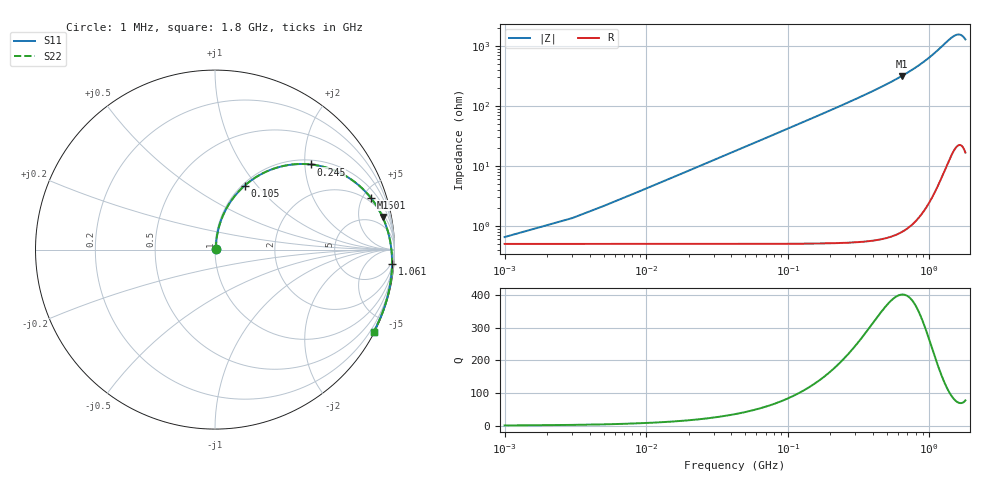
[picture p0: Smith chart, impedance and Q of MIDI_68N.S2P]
! Coilcraft 1812SMS-68N Midi Spring Air Core Inductor
! 10 June 2003
# MHZ S MA R 50
!Freq  MagS11  AngS11  MagS21  AngS21  MagS12  AngS12  MagS22  AngS22
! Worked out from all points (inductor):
!   901 points, 1 MHz to 1.8 GHz, reference 50 ohm
!   read as one part in series: L = 66.3 nH near 9 MHz
!   highest Q = 401 at 639 MHz (marker M1), where L = 78.6 nH
!   S11 on the Smith chart (normalised r, x): 1 MHz: 1.01, +0.01; 105 MHz: 1.03, +0.87; 245 MHz: 1.11, +2.14; 501 MHz: 1.62, +5.71; 1.061 GHz: 3, -24; 1.8 GHz: 0.04, -4.10
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1  0.006411 39.0  0.995 -0.2  0.995 -0.2  0.006412 39.0
5  0.02087 75.0  0.9948 -1.2  0.9948 -1.2  0.02088 75.0
11  0.04483 81.0  0.994 -2.7  0.994 -2.7  0.04485 81.0
15  0.06091 81.7  0.9932 -3.6  0.9932 -3.6  0.06094 81.7
21  0.085 81.6  0.9914 -5.1  0.9914 -5.1  0.08503 81.6
29  0.1169 80.6  0.9882 -7.0  0.9882 -7.0  0.117 80.6
43  0.1719 78.0  0.9802 -10.3  0.9802 -10.3  0.172 78.0
59  0.233 74.7  0.9676 -14.1  0.9676 -14.1  0.2331 74.7
105  0.3932 65.1  0.9148 -24.2  0.9148 -24.2  0.3934 65.1
169  0.5698 53.1  0.8176 -36.5  0.8176 -36.5  0.57 53.1
245  0.7135 41.7  0.6969 -48.0  0.6969 -48.0  0.7138 41.7
301  0.785 34.9  0.6161 -54.8  0.6161 -54.8  0.7853 34.9
393  0.8618 26.2  0.5041 -63.6  0.5041 -63.6  0.8622 26.2
501  0.9142 18.5  0.4023 -71.4  0.4023 -71.4  0.9146 18.5
601  0.9431 12.8  0.3295 -77.0  0.3295 -77.0  0.9435 12.8
639  0.951 11.0  0.306 -78.9  0.306 -78.9  0.9514 11.0
901  0.9817 0.5  0.186 -89.3  0.186 -89.3  0.9821 0.5
1061  0.9896 -4.6  0.1374 -94.4  0.1374 -94.4  0.99 -4.6
1201  0.9934 -8.8  0.1054 -98.5  0.1054 -98.5  0.9938 -8.8
1501  0.9965 -17.6  0.06577 -106.9  0.06577 -106.9  0.9969 -17.6
1653  0.9964 -22.3  0.06211 -111.5  0.06211 -111.5  0.9969 -22.3
1800  0.9954 -27.4  0.07279 -116.6  0.07279 -116.6  0.9958 -27.4
